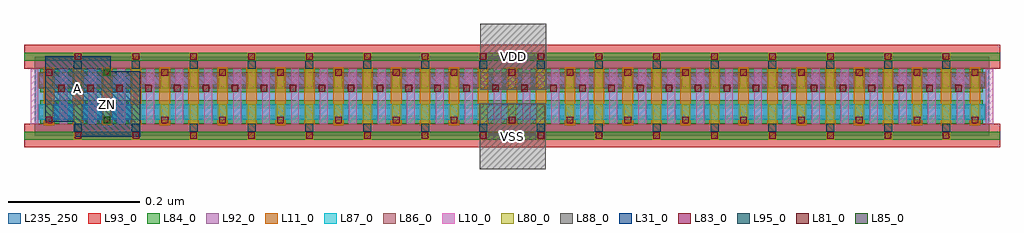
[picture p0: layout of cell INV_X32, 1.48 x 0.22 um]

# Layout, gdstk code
import gdstk
lib = gdstk.Library(unit=1e-6, precision=1e-09)
def R(c, l, rs):  # rectangles x0, y0, x1, y1
    for r in rs: c.add(gdstk.rectangle(r[:2], r[2:], *l))
def A(c, l, x, y, w, h, nx, ny, dx, dy):  # array of equal rectangles
    R(c, l, [(x+i*dx, y+j*dy, x+i*dx+w, y+j*dy+h) for i in range(nx) for j in range(ny)])
L10_0 = (10, 0)
L11_0 = (11, 0)
L31_0 = (31, 0)
L80_0 = (80, 0)
L81_0 = (81, 0)
L83_0 = (83, 0)
L84_0 = (84, 0)
L85_0 = (85, 0)
L86_0 = (86, 0)
L87_0 = (87, 0)
L88_0 = (88, 0)
L92_0 = (92, 0)
L93_0 = (93, 0)
L95_0 = (95, 0)
L235_250 = (235, 250)

inv_x32 = lib.new_cell('INV_X32')
A(inv_x32, L10_0, -0.006, 0.018, 0.012, 0.084, 34, 1, 0.044, 0)
A(inv_x32, L11_0, 0.014, 0.016, 0.016, 0.088, 33, 1, 0.044, 0)
R(inv_x32, L31_0, [(0.061,-0.002,0.161,0.098), (0.016,0.021,0.116,0.121)])
A(inv_x32, L80_0, 0.06, -0.006, 0.012, 0.054, 16, 2, 0.088, 0.078)
A(inv_x32, L80_0, 0.016, 0.018, 0.012, 0.03, 17, 2, 0.088, 0.054)
A(inv_x32, L81_0, 0.036, 0.067, 0.01, 0.01, 32, 1, 0.044, 0)
A(inv_x32, L83_0, 0.061, -0.005, 0.01, 0.01, 16, 2, 0.088, 0.12)
A(inv_x32, L83_0, 0.017, 0.019, 0.01, 0.01, 17, 2, 0.088, 0.072)
A(inv_x32, L84_0, 0.009, 0.018, 1.433, 0.012, 1, 4, 0, 0.024)
R(inv_x32, L84_0, [(-0.016,-0.006,1.468,0.006), (-0.016,0.114,1.468,0.126)])
R(inv_x32, L85_0, [(0.105,0.019,0.115,0.029), (0.061,0.067,0.071,0.077), (0.105,0.091,0.115,0.101)])
R(inv_x32, L86_0, [(0.006,0.072,1.446,0.096)])
R(inv_x32, L87_0, [(0.006,0.024,1.446,0.048)])
R(inv_x32, L88_0, [(0.677,-0.051,0.777,0.049), (0.678,0.07,0.778,0.17)])
R(inv_x32, L92_0, [(0.007,0.026,1.445,0.046), (0.007,0.074,1.445,0.094)])
R(inv_x32, L93_0, [(-0.016,-0.018,1.468,0.018), (-0.016,0.102,1.468,0.138)])
A(inv_x32, L95_0, 0.06, 0.006, 0.012, 0.012, 16, 2, 0.088, 0.096)
R(inv_x32, L235_250, [(0,0,1.452,0.12)])
inv_x32.add(gdstk.Label('VSS', (0.727,-0.001), layer=88, texttype=0))
inv_x32.add(gdstk.Label('VDD', (0.728,0.12), layer=88, texttype=0))
inv_x32.add(gdstk.Label('A', (0.066,0.071), layer=31, texttype=0))
inv_x32.add(gdstk.Label('ZN', (0.111,0.048), layer=31, texttype=0))

lib.write_gds('INV_X32.gds')
